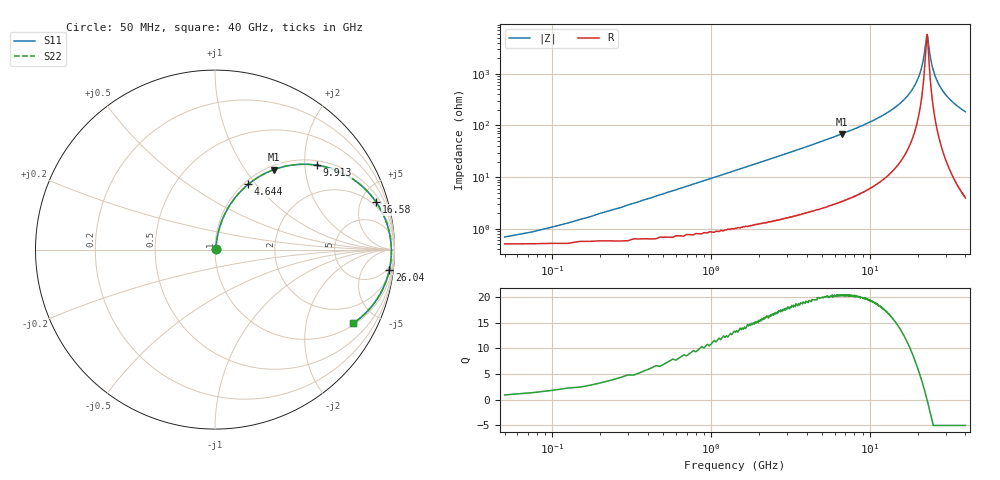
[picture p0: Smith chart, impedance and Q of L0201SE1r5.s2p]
# MHZ S MA R 50
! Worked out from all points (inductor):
!   1601 points, 50 MHz to 40 GHz, reference 50 ohm
!   read as one part in series: L = 1.5 nH near 249.8 MHz
!   highest Q = 20.3 at 6.667 GHz (marker M1), where L = 1.64 nH
!   self-resonance near 22.93 GHz
!   S11 on the Smith chart (normalised r, x): 50 MHz: 1.01, +0.01; 4.644 GHz: 1.05, +0.91; 9.913 GHz: 1.12, +2.30; 16.58 GHz: 1.54, +6.51; 26.04 GHz: 3, -17; 40 GHz: 1.08, -3.70
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50  0.006968 42.0  0.995 -0.3  0.995 -0.3  0.006968 42.0
324.656  0.031 76.8  0.993 -1.7  0.993 -1.7  0.031 76.8
499.438  0.047 79.1  0.992 -2.7  0.992 -2.7  0.047 79.1
824.031  0.077 79.7  0.989 -4.4  0.989 -4.4  0.077 79.7
1223.531  0.114 78.8  0.984 -6.5  0.984 -6.5  0.114 78.8
2546.875  0.233 73.1  0.959 -13.5  0.959 -13.5  0.233 73.1
4644.25  0.408 63.0  0.892 -24.0  0.892 -24.0  0.408 63.0
6666.719  0.554 53.6  0.806 -33.6  0.806 -33.6  0.554 53.6
6716.656  0.557 53.4  0.804 -33.8  0.804 -33.8  0.557 53.4
9912.656  0.736 39.7  0.64 -47.3  0.64 -47.3  0.736 39.7
13383.31  0.865 26.8  0.452 -59.7  0.452 -59.7  0.865 26.8
16579.31  0.935 16.6  0.286 -68.7  0.286 -68.7  0.935 16.6
20025  0.973 7.0  0.124 -73.7  0.124 -73.7  0.973 7.0
21423.25  0.979 3.5  0.064 -69.6  0.064 -69.6  0.979 3.5
22721.62  0.982 0.5  0.02 -25.1  0.02 -25.1  0.982 0.5
22946.34  0.983 -0.0  0.017 1.6  0.017 1.6  0.983 -0.0
24419.5  0.982 -3.3  0.059 70.7  0.059 70.7  0.982 -3.3
26042.47  0.978 -6.6  0.116 75.8  0.116 75.8  0.978 -6.6
26691.66  0.976 -7.9  0.138 75.9  0.138 75.9  0.976 -7.9
29488.16  0.961 -13.0  0.226 73.5  0.226 73.5  0.961 -13.0
33358.31  0.932 -19.3  0.33 68.6  0.33 68.6  0.932 -19.3
40000  0.872 -28.1  0.472 60.6  0.472 60.6  0.872 -28.1
